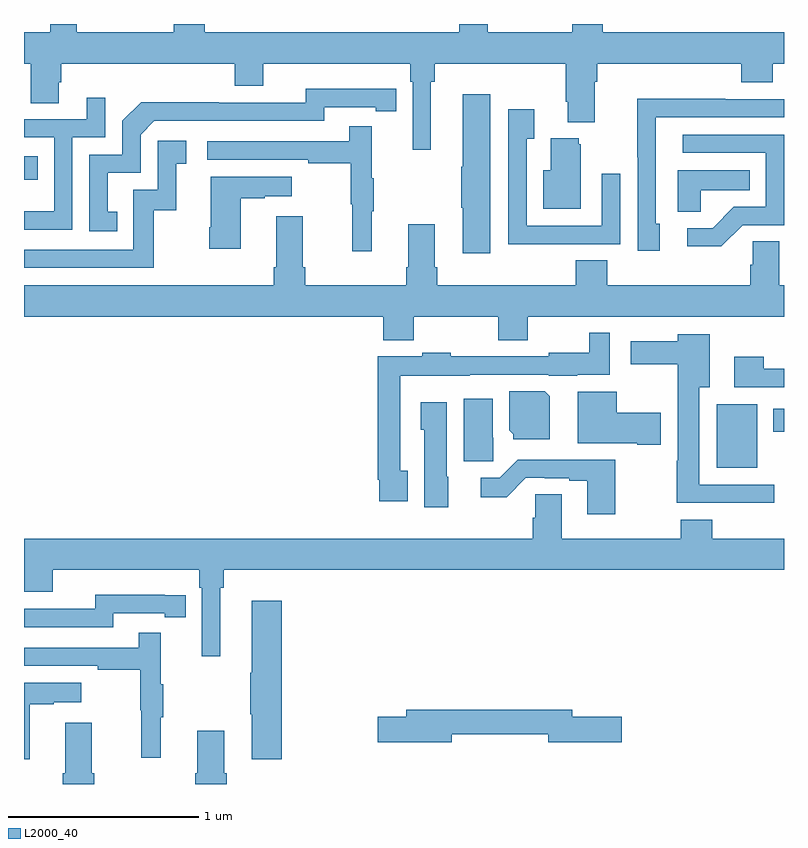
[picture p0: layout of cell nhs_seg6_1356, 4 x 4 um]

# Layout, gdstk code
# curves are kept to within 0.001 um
import gdstk
lib = gdstk.Library(unit=1e-6, precision=1e-09)
def R(c, l, rs):  # rectangles x0, y0, x1, y1
    for r in rs: c.add(gdstk.rectangle(r[:2], r[2:], *l))
def P(c, l, *ps):  # polygons
    for p in ps: c.add(gdstk.Polygon(p, *l))
L2000_40 = (2000, 40)

nhs_seg6_1356 = lib.new_cell('nhs_seg6_1356')
R(nhs_seg6_1356, L2000_40, [(196.646,989.165,196.858,989.5), (196.943,989.354,197,989.476), (193,990.681,193.073,990.804)])
P(nhs_seg6_1356, L2000_40, [(193.951,991.5),(193.787,991.5),(193.787,991.456),(193.277,991.456),(193.277,991.5),(193.139,991.5),(193.139,991.456),(193,991.456),(193,991.292),(193.036,991.292),(193.036,991.084),(193.183,991.084),(193.183,991.194),(193.196,991.194),(193.196,991.292),(194.108,991.292),(194.108,991.175),(194.26,991.175),(194.26,991.292),(195.032,991.292),(195.032,991.196),(195.045,991.196),(195.045,990.837),(195.142,990.837),(195.142,991.196),(195.161,991.196),(195.161,991.292),(195.851,991.292),(195.851,991.09),(195.863,991.09),(195.863,990.983),(196.003,990.983),(196.003,991.196),(196.016,991.196),(196.016,991.292),(196.775,991.292),(196.775,991.193),(196.94,991.193),(196.94,991.292),(197,991.292),(197,991.456),(196.046,991.456),(196.046,991.5),(195.886,991.5),(195.886,991.456),(195.441,991.456),(195.441,991.5),(195.29,991.5),(195.29,991.456),(193.951,991.456)],
  [(193.49,990.513),(193.441,990.513),(193.441,990.717),(193.614,990.717),(193.614,990.918),(193.686,990.99),(194.58,990.99),(194.58,991.062),(194.852,991.062),(194.852,991.042),(194.96,991.042),(194.96,991.158),(194.484,991.159),(194.484,991.086),(194.024,991.086),(194.024,991.088),(193.616,991.088),(193.518,990.99),(193.518,990.813),(193.344,990.813),(193.344,990.408),(193.49,990.408)],
  [(195.454,991.129),(195.308,991.129),(195.308,990.749),(195.301,990.749),(195.301,990.532),(195.308,990.532),(195.308,990.294),(195.454,990.294)],
  [(193.254,990.903),(193.428,990.903),(193.428,991.111),(193.331,991.111),(193.331,990.999),(193,990.999),(193,990.903),(193.158,990.903),(193.158,990.514),(193,990.514),(193,990.417),(193.254,990.417)],
  [(196.345,990.45),(196.326,990.45),(196.326,991.008),(197,991.008),(197,991.104),(196.691,991.104),(196.691,991.106),(196.228,991.106),(196.228,990.799),(196.23,990.799),(196.23,990.306),(196.345,990.306)],
  [(195.821,990.342),(196.137,990.342),(196.137,990.712),(196.041,990.712),(196.041,990.438),(195.645,990.438),(195.645,990.895),(195.685,990.895),(195.685,991.051),(195.549,991.051),(195.549,990.341),(195.821,990.341)],
  [(194.831,990.515),(194.842,990.515),(194.842,990.689),(194.831,990.689),(194.831,990.961),(194.713,990.961),(194.713,990.882),(193.965,990.882),(193.965,990.786),(194.497,990.786),(194.497,990.766),(194.721,990.766),(194.721,990.552),(194.728,990.552),(194.728,990.303),(194.831,990.303)],
  [(196.782,990.441),(197,990.441),(197,990.918),(196.467,990.918),(196.467,990.822),(196.905,990.822),(196.905,990.537),(196.736,990.537),(196.625,990.426),(196.491,990.426),(196.491,990.329),(196.669,990.329)],
  [(195.931,990.867),(195.92,990.867),(195.92,990.898),(195.773,990.898),(195.773,990.73),(195.734,990.73),(195.734,990.527),(195.931,990.527)],
  [(193.684,990.519),(193.802,990.519),(193.802,990.765),(193.855,990.765),(193.855,990.886),(193.704,990.886),(193.704,990.627),(193.575,990.627),(193.575,990.312),(193,990.312),(193,990.216),(193.684,990.216)],
  [(196.563,990.626),(196.82,990.626),(196.82,990.73),(196.442,990.73),(196.442,990.511),(196.563,990.511)],
  [(194.14,990.583),(194.267,990.583),(194.267,990.593),(194.41,990.593),(194.41,990.697),(193.982,990.697),(193.982,990.43),(193.975,990.43),(193.975,990.318),(194.14,990.318)],
  [(195.051,989.96),(195.496,989.96),(195.496,989.836),(195.651,989.836),(195.651,989.96),(197,989.96),(197,990.124),(196.975,990.124),(196.975,990.356),(196.836,990.356),(196.836,990.233),(196.823,990.233),(196.823,990.124),(196.07,990.124),(196.07,990.257),(195.905,990.257),(195.905,990.124),(195.176,990.124),(195.176,990.22),(195.163,990.22),(195.163,990.445),(195.023,990.445),(195.023,990.22),(195.011,990.22),(195.011,990.124),(194.48,990.124),(194.48,990.22),(194.467,990.22),(194.467,990.487),(194.327,990.487),(194.327,990.22),(194.315,990.22),(194.315,990.124),(193,990.124),(193,989.96),(194.891,989.96),(194.891,989.836),(195.051,989.836)],
  [(195.019,989.15),(194.979,989.15),(194.979,989.648),(195.345,989.648),(195.345,989.655),(195.762,989.655),(195.762,989.648),(195.912,989.648),(195.912,989.654),(196.083,989.654),(196.083,989.875),(195.975,989.875),(195.975,989.77),(195.762,989.77),(195.762,989.751),(195.246,989.751),(195.246,989.769),(195.096,989.769),(195.096,989.751),(194.863,989.751),(194.863,989.101),(194.871,989.101),(194.871,988.989),(195.019,988.989)],
  [(196.948,989.076),(196.555,989.076),(196.555,989.588),(196.609,989.588),(196.609,989.866),(196.442,989.866),(196.442,989.83),(196.194,989.83),(196.194,989.708),(196.442,989.708),(196.442,989.201),(196.435,989.201),(196.435,988.979),(196.948,988.979)],
  [(197,989.685),(196.893,989.685),(196.893,989.749),(196.737,989.749),(196.737,989.589),(197,989.589)],
  [(195.766,989.54),(195.74,989.566),(195.554,989.566),(195.554,989.362),(195.576,989.34),(195.576,989.315),(195.766,989.315)],
  [(196.351,989.455),(196.12,989.455),(196.12,989.564),(195.914,989.564),(195.914,989.294),(196.227,989.294),(196.227,989.285),(196.351,989.285)],
  [(195.47,989.322),(195.466,989.322),(195.466,989.527),(195.314,989.527),(195.314,989.199),(195.47,989.199)],
  [(195.232,989.118),(195.226,989.118),(195.226,989.509),(195.089,989.509),(195.089,989.364),(195.107,989.364),(195.107,988.956),(195.232,988.956)],
  [(196.113,989.206),(195.598,989.206),(195.504,989.112),(195.405,989.112),(195.405,989.01),(195.54,989.01),(195.642,989.112),(195.742,989.112),(195.742,989.109),(195.869,989.109),(195.869,989.097),(195.965,989.097),(195.965,988.92),(196.113,988.92)],
  [(193,988.511),(193.15,988.511),(193.15,988.628),(193.922,988.628),(193.922,988.532),(193.935,988.532),(193.935,988.173),(194.032,988.173),(194.032,988.532),(194.051,988.532),(194.051,988.628),(197,988.628),(197,988.792),(196.622,988.792),(196.622,988.891),(196.457,988.891),(196.457,988.792),(195.829,988.792),(195.829,989.024),(195.69,989.024),(195.69,988.902),(195.677,988.902),(195.677,988.792),(193,988.792)],
  [(193.47,988.398),(193.742,988.398),(193.742,988.378),(193.85,988.378),(193.85,988.494),(193.742,988.494),(193.742,988.495),(193.374,988.495),(193.374,988.422),(193,988.422),(193,988.326),(193.47,988.326)],
  [(194.357,988.465),(194.198,988.465),(194.198,988.085),(194.191,988.085),(194.191,987.868),(194.198,987.868),(194.198,987.63),(194.357,987.63)],
  [(193.721,987.851),(193.732,987.851),(193.732,988.025),(193.721,988.025),(193.721,988.297),(193.603,988.297),(193.603,988.218),(193,988.218),(193,988.122),(193.387,988.122),(193.387,988.102),(193.611,988.102),(193.611,987.888),(193.618,987.888),(193.618,987.639),(193.721,987.639)],
  [(193.03,987.919),(193.157,987.919),(193.157,987.929),(193.3,987.929),(193.3,988.033),(193,988.033),(193,987.63),(193.03,987.63)],
  [(195.25,987.762),(195.758,987.762),(195.758,987.719),(196.147,987.719),(196.147,987.854),(195.886,987.854),(195.886,987.89),(195.011,987.89),(195.011,987.854),(194.862,987.854),(194.862,987.719),(195.25,987.719)],
  [(193.37,987.556),(193.357,987.556),(193.357,987.823),(193.217,987.823),(193.217,987.556),(193.205,987.556),(193.205,987.5),(193.37,987.5)],
  [(194.066,987.556),(194.053,987.556),(194.053,987.781),(193.913,987.781),(193.913,987.556),(193.901,987.556),(193.901,987.5),(194.066,987.5)])

lib.write_gds('nhs_seg6_1356.gds')
